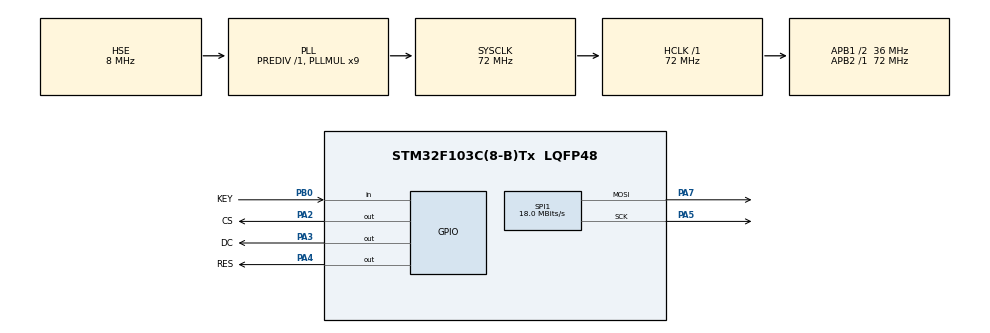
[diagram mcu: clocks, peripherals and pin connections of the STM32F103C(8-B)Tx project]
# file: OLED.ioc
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Mcu.Family=STM32F1
Mcu.Name=STM32F103C(8-B)Tx
Mcu.Package=LQFP48
NVIC.PriorityGroup=NVIC_PRIORITYGROUP_4
PA13.Mode=Serial_Wire
PA13.Signal=SYS_JTMS-SWDIO
PA14.Mode=Serial_Wire
PA14.Signal=SYS_JTCK-SWCLK
PA2.GPIO_Label=CS
PA2.Signal=GPIO_Output
PA3.GPIO_Label=DC
PA3.Signal=GPIO_Output
PA4.GPIO_Label=RES
PA4.Signal=GPIO_Output
PA5.Mode=TX_Only_Simplex_Unidirect_Master
PA5.Signal=SPI1_SCK
PA7.Mode=TX_Only_Simplex_Unidirect_Master
PA7.Signal=SPI1_MOSI
PB0.GPIO_Label=KEY
PB0.GPIO_PuPd=GPIO_PULLUP
PB0.Signal=GPIO_Input
PC14-OSC32_IN.Mode=LSE-External-Oscillator
PC14-OSC32_IN.Signal=RCC_OSC32_IN
PC15-OSC32_OUT.Mode=LSE-External-Oscillator
PC15-OSC32_OUT.Signal=RCC_OSC32_OUT
PD0-OSC_IN.Mode=HSE-External-Oscillator
PD0-OSC_IN.Signal=RCC_OSC_IN
PD1-OSC_OUT.Mode=HSE-External-Oscillator
PD1-OSC_OUT.Signal=RCC_OSC_OUT
ProjectManager.HeapSize=0x200
ProjectManager.StackSize=0x400
ProjectManager.TargetToolchain=MDK-ARM V5.32
RCC.AHBFreq_Value=72000000
RCC.APB1CLKDivider=RCC_HCLK_DIV2
RCC.APB1Freq_Value=36000000
RCC.APB1TimFreq_Value=72000000
RCC.APB2Freq_Value=72000000
RCC.APB2TimFreq_Value=72000000
RCC.HCLKFreq_Value=72000000
RCC.PLLMUL=RCC_PLL_MUL9
RCC.PLLSourceVirtual=RCC_PLLSOURCE_HSE
RCC.SYSCLKFreq_VALUE=72000000
RCC.SYSCLKSource=RCC_SYSCLKSOURCE_PLLCLK
RCC.USBFreq_Value=72000000
SPI1.BaudRatePrescaler=SPI_BAUDRATEPRESCALER_4
SPI1.CalculateBaudRate=18.0 MBits/s
SPI1.Direction=SPI_DIRECTION_2LINES
SPI1.Mode=SPI_MODE_MASTER
SPI1.VirtualType=VM_MASTER
board=custom

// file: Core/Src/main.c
/* USER CODE BEGIN Header */
/**
 ******************************************************************************
 * @file           : main.c
 * @brief          : Main program body
 ******************************************************************************
 * @attention
 *
 * Copyright (c) 2022 STMicroelectronics.
 * All rights reserved.
 *
 * This software is licensed under terms that can be found in the LICENSE file
 * in the root directory of this software component.
 * If no LICENSE file comes with this software, it is provided AS-IS.
 *
 ******************************************************************************
 */
/* USER CODE END Header */
#include "main.h"
#include "spi.h"
#include "gpio.h"

/* USER CODE BEGIN Includes */
#include "oled.h"
#include "u8g2.h"
#include "u8x8.h"
#include "multi_button.h"
#include "stdio.h"

/* USER CODE END Includes */

/* USER CODE BEGIN PTD */
volatile uint32_t flag;
u8g2_t u8g2;

unsigned int number = 0;
unsigned char str[10] = {0};

/* USER CODE END PTD */

/* USER CODE BEGIN PV */
struct Button button;

/* USER CODE END PV */

void SystemClock_Config(void);

/* USER CODE BEGIN 0 */
uint8_t read_button_GPIO()
{
 return HAL_GPIO_ReadPin(KEY_GPIO_Port, KEY_Pin);
}

void btn_press_up_Handler(void* btn)
{
    number ++;
}

void btn_long_press_start_Handler(void* btn)
{
    number = 0;
}
/* USER CODE END 0 */

int main(void)
{

    /* MCU Configuration--------------------------------------------------------*/

    /* Reset of all peripherals, Initializes the Flash interface and the Systick. */
    HAL_Init();

    /* USER CODE BEGIN Init */
    uint8_t t;
    uint8_t fps;
    /* USER CODE END Init */

    /* Configure the system clock */
    SystemClock_Config();

    /* Initialize all configured peripherals */
    MX_GPIO_Init();
    MX_SPI1_Init();
    /* USER CODE BEGIN 2 */
    OLED_RST_Set();
    u8g2Init(&u8g2);

    button_init(&button, read_button_GPIO, 0, 0);
    button_attach(&button, PRESS_UP, btn_press_up_Handler);
    button_attach(&button, LONG_PRESS_START, btn_long_press_start_Handler);
    button_start(&button);
    /* USER CODE END 2 */

    /* Infinite loop */
    /* USER CODE BEGIN WHILE */
    while (1)
    {
        sprintf((char *)str,"%d",number);
        u8g2_SetFont(&u8g2,u8g2_font_unifont_t_chinese2);
        u8g2_FirstPage(&u8g2);
        do
        {
            u8g2_DrawStr(&u8g2,0,15,"Hello World !");
            u8g2_DrawUTF8(&u8g2,0,30,"你好世界 !");
            u8g2_DrawStr(&u8g2,0,45,(char *)str);
        } while (u8g2_NextPage(&u8g2));
        /* USER CODE END WHILE */

        /* USER CODE BEGIN 3 */
        //每隔5ms调用一次后台处理函数
        button_ticks();
        HAL_Delay(5);
    }
    /* USER CODE END 3 */
}

void SystemClock_Config(void)
{
    RCC_OscInitTypeDef RCC_OscInitStruct = {0};
    RCC_ClkInitTypeDef RCC_ClkInitStruct = {0};

    /** Initializes the RCC Oscillators according to the specified parameters
     * in the RCC_OscInitTypeDef structure.
     */
    RCC_OscInitStruct.OscillatorType = RCC_OSCILLATORTYPE_HSE;
    RCC_OscInitStruct.HSEState = RCC_HSE_ON;
    RCC_OscInitStruct.HSEPredivValue = RCC_HSE_PREDIV_DIV1;
    RCC_OscInitStruct.HSIState = RCC_HSI_ON;
    RCC_OscInitStruct.PLL.PLLState = RCC_PLL_ON;
    RCC_OscInitStruct.PLL.PLLSource = RCC_PLLSOURCE_HSE;
    RCC_OscInitStruct.PLL.PLLMUL = RCC_PLL_MUL9;
    if (HAL_RCC_OscConfig(&RCC_OscInitStruct) != HAL_OK)
    {
        Error_Handler();
    }
    /** Initializes the CPU, AHB and APB buses clocks
     */
    RCC_ClkInitStruct.ClockType = RCC_CLOCKTYPE_HCLK | RCC_CLOCKTYPE_SYSCLK | RCC_CLOCKTYPE_PCLK1 | RCC_CLOCKTYPE_PCLK2;
    RCC_ClkInitStruct.SYSCLKSource = RCC_SYSCLKSOURCE_PLLCLK;
    RCC_ClkInitStruct.AHBCLKDivider = RCC_SYSCLK_DIV1;
    RCC_ClkInitStruct.APB1CLKDivider = RCC_HCLK_DIV2;
    RCC_ClkInitStruct.APB2CLKDivider = RCC_HCLK_DIV1;

    if (HAL_RCC_ClockConfig(&RCC_ClkInitStruct, FLASH_LATENCY_2) != HAL_OK)
    {
        Error_Handler();
    }
}

void Error_Handler(void)
{
    __disable_irq();
    while (1)
    {
    }
}
